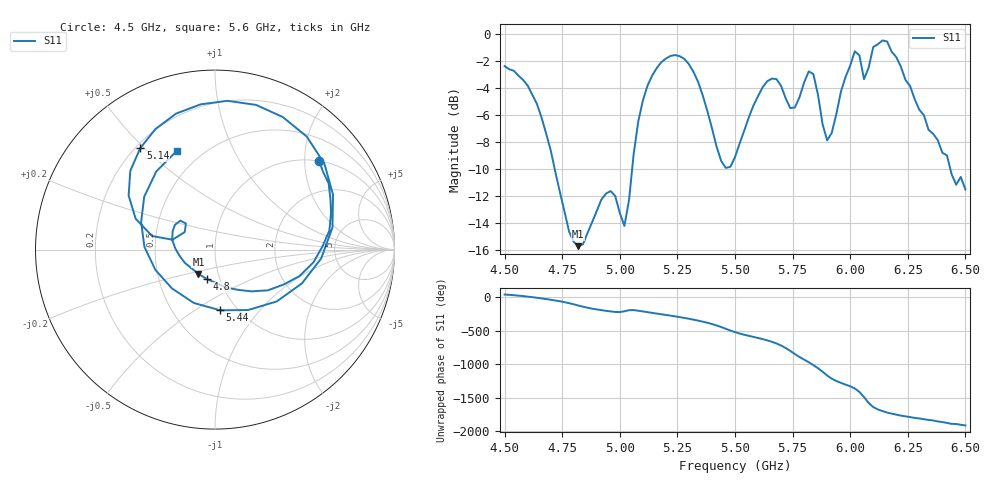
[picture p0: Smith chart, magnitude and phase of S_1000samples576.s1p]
! TOUCHSTONE file generated by CST MICROWAVE STUDIO
! Date and time: Fri Oct 28 16:01:52 2022
! Project name: L.cst
! Parameters = {Di=1.27; Epsilon_r=1.56; InnerDiameter=1.27; Length=2; Lf=10; Lg=60; OuterConductorThickness=0.2921; OuterDiameter=3.6; Wf=3; Wp=41.2; de=1.5; df=6.8; g=0.8; gx=3.65828; gy=0.519313; h=2.34; hf=1.524; px=13.5333; py=13.7148; w=9.7; wx=9.87506; wy=13.1955}
! Header version: 2018
! Port assignment regex: !\s*Touchstone port\s*([0-9]+)\s*=\s*(CST MWS port|CST DS port)\s*([0-9]+|Zmin|Zmax)\s*\(\"(.*)\"\)(\s*mode\s*([0-9]+))?.*
! Touchstone port assignment:
! Touchstone port 1 = CST MWS port 1 ("")
# GHz S DB R 50
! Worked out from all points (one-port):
!   101 points, 4.5 GHz to 6.5 GHz, reference 50 ohm
!   lowest |S11| = -15.7 dB at 4.82 GHz (marker M1), VSWR 1.39, Z = 40.2 - j11.2 ohm
!   |S11| at or under -10 dB: 4.718 GHz to 5.053 GHz (335.9 MHz wide, 6.87 % of centre); 6.435 GHz to end of sweep
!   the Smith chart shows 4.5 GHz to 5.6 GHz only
!   S11 on the Smith chart (normalised r, x): 4.5 GHz: 1.00, +2.36; 4.8 GHz: 0.87, -0.29; 5.14 GHz: 0.22, +0.49; 5.44 GHz: 0.84, -0.64; 5.6 GHz: 0.37, +0.62
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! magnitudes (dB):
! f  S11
! 4.5 GHz  -2.4
! 4.64 GHz  -5.1
! 4.76 GHz  -13.1
! 4.8 GHz  -15.4
! 4.82 GHz  -15.7
! 4.94 GHz  -11.8
! 5 GHz  -13.2
! 5.02 GHz  -14.2
! 5.08 GHz  -6.5
! 5.14 GHz  -3.1
! 5.26 GHz  -1.6
! 5.34 GHz  -3.5
! 5.44 GHz  -9.4
! 5.5 GHz  -9.1
! 5.6 GHz  -4.6
! 5.68 GHz  -3.3
! 5.76 GHz  -5.4
! 5.82 GHz  -2.7
! 5.84 GHz  -2.9
! 5.9 GHz  -7.9
! 6 GHz  -2.3
! 6.04 GHz  -1.6
! 6.06 GHz  -3.3
! 6.1 GHz  -0.9
! 6.16 GHz  -0.5
! 6.26 GHz  -3.8
! 6.46 GHz  -11.1
! 6.5 GHz  -11.5
